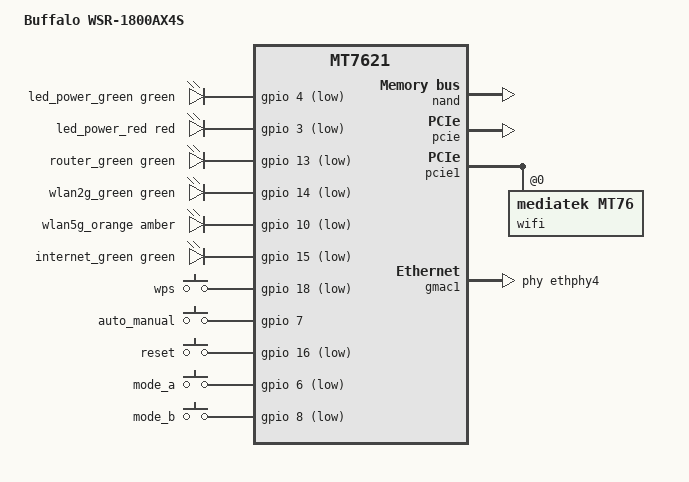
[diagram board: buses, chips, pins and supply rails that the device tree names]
// SPDX-License-Identifier: GPL-2.0-or-later OR MIT
//
// Buffalo WSR-1800AX4S (Gemtek WRTM-353AX)
// SoC: MT7621AT, RAM 256MB, NAND 128MB (Winbond W29N01HV, nmbm),
// WiFi: MT7915DAN + MT7975DN (PCIe, dual-band concurrent, single chip)
//
// Flash layout mirrors the stock nmbm partition table. The stock
// bootcode (Buffalo Bootcode 1.04) requires both flash banks to
// hold identical kernel/rootfs images, a FIT with legacy "@" node
// names, and a "gtkc:" CRC trailer at offset 0x99adc6 of each
// rootfs partition; see the partition comment below.

#include "mt7621.dtsi"

#include <dt-bindings/gpio/gpio.h>
#include <dt-bindings/input/input.h>
#include <dt-bindings/leds/common.h>

/ {
	compatible = "buffalo,wsr-1800ax4s", "mediatek,mt7621-soc";
	model = "Buffalo WSR-1800AX4S";

	aliases {
		led-boot = &led_power_green;
		led-failsafe = &led_power_red;
		led-running = &led_power_green;
		led-upgrade = &led_power_red;
		label-mac-device = &ethernet;
	};

	chosen {
		bootargs = "console=ttyS0,115200";
	};

	leds {
		compatible = "gpio-leds";

		// All LEDs are active-low (stock DTB) and were lit one at a
		// time on the live unit, 2026-11-04/05, colours confirmed
		// by eye: POWER green/red, WIRELESS green/orange,
		// INTERNET green, ROUTER green.

		led_power_green: power_green {
			function = LED_FUNCTION_STATUS;
			color = <LED_COLOR_ID_GREEN>;
			gpios = <&gpio 4 GPIO_ACTIVE_LOW>;
			default-state = "on";
		};

		led_power_red: power_red {
			function = LED_FUNCTION_STATUS;
			color = <LED_COLOR_ID_RED>;
			gpios = <&gpio 3 GPIO_ACTIVE_LOW>;
		};

		router_green {
			function = "router";
			color = <LED_COLOR_ID_GREEN>;
			gpios = <&gpio 13 GPIO_ACTIVE_LOW>;
		};

		wlan2g_green {
			function = LED_FUNCTION_WLAN_2GHZ;
			color = <LED_COLOR_ID_GREEN>;
			gpios = <&gpio 14 GPIO_ACTIVE_LOW>;
		};

		wlan5g_orange {
			function = LED_FUNCTION_WLAN_5GHZ;
			color = <LED_COLOR_ID_AMBER>;
			gpios = <&gpio 10 GPIO_ACTIVE_LOW>;
		};

		internet_green {
			function = LED_FUNCTION_WAN;
			color = <LED_COLOR_ID_GREEN>;
			gpios = <&gpio 15 GPIO_ACTIVE_LOW>;
		};
	};

	keys {
		compatible = "gpio-keys";

		// Front-top AOSS button, confirmed by fast GPIO polling
		// (clean 1 -> 0 -> 1 press signature, exclusive responder).
		wps {
			label = "wps";
			gpios = <&gpio 18 GPIO_ACTIVE_LOW>;
			linux,code = <KEY_WPS_BUTTON>;
		};

		// AUTO/MANUAL slide switch, single pin, confirmed live:
		// MANUAL position = 1, AUTO position = 0.
		auto_manual {
			label = "auto_manual";
			gpios = <&gpio 7 GPIO_ACTIVE_HIGH>;
			linux,code = <BTN_0>;
			linux,input-type = <EV_SW>;
		};

		// Bottom RESET button, identified under the stock OS
		// (2026-11-05): the stock firmware exports GPIO 6, 7, 8,
		// 12, 16, 18 as sysfs inputs; fast sampling of those
		// values during a short press showed GPIO 16 alone going
		// hi -> lo. Active low.
		reset {
			label = "reset";
			gpios = <&gpio 16 GPIO_ACTIVE_LOW>;
			linux,code = <KEY_RESTART>;
		};

		// ROUTER/AP/WB slide switch, identified the same day:
		// a two-pin code on GPIO 6 and GPIO 8. Physical levels:
		//   ROUTER: 6=hi, 8=lo
		//   AP:     6=lo, 8=hi
		//   WB:     6=hi, 8=hi
		// Modelled as two EV_SW inputs; userspace can decode the
		// three positions from the pair. Each pin is "engaged"
		// (reads lo) in exactly one end position.
		mode_a {
			label = "mode_a";
			gpios = <&gpio 6 GPIO_ACTIVE_LOW>;
			linux,code = <BTN_1>;
			linux,input-type = <EV_SW>;
		};

		mode_b {
			label = "mode_b";
			gpios = <&gpio 8 GPIO_ACTIVE_LOW>;
			linux,code = <BTN_2>;
			linux,input-type = <EV_SW>;
		};
	};
};

&state_default {
	gpio {
		groups = "i2c", "uart3", "uart2";
		function = "gpio";
	};
};

&nand {
	status = "okay";

	// Stock firmware manages this NAND through nmbm; the stock
	// kernel's MTD list is the nmbm logical view reproduced below.
	// mediatek,bmt-remap-range is not needed: without it the MTD
	// list matches the stock logical table and nmbm attaches its
	// management area at block 960 (0x7800000), as on stock.
	mediatek,nmbm;

	partitions {
		compatible = "fixed-partitions";
		#address-cells = <1>;
		#size-cells = <1>;

		partition@0 {
			label = "Bootloader";
			reg = <0x0 0x80000>;
			read-only;
		};

		partition@80000 {
			label = "Config";
			reg = <0x80000 0x80000>;
			read-only;
		};

		partition@100000 {
			label = "Factory";
			reg = <0x100000 0x80000>;
			read-only;

			nvmem-layout {
				compatible = "fixed-layout";
				#address-cells = <1>;
				#size-cells = <1>;

				// MT7915 EEPROM + pre-calibration, same
				// offsets as the donor board (calibration
				// data verified present on this unit).
				eeprom_factory_0: eeprom@0 {
					reg = <0x0 0xe00>;
				};

				precal_factory_e10: precal@e10 {
					reg = <0xe10 0x19c10>;
				};

				// Two binary MACs stored back to back:
				// +0x4 = 90:96:f3:db:d3:31, +0xa = ...:38
				macaddr_factory_4: macaddr@4 {
					compatible = "mac-base";
					reg = <0x4 0x6>;
					#nvmem-cell-cells = <1>;
				};

				macaddr2_factory_a: macaddr2@a {
					reg = <0xa 0x6>;
				};
			};
		};

		// Dual-bank layout. The bootcode reads kernel/rootfs from
		// raw offsets inside each bank and CRC-checks only the
		// squashfs span (its trailer sits at stock offset
		// 0x99adc6 within rootfs), so the Linux-side map may cut
		// each bank at the stock split point: rootfs ends at
		// +0x9a0000 and the remaining space is a UBI partition
		// holding the overlay (UBIFS volume "rootfs_data").
		// JFFS2 on the raw tail proved unreliable on this NAND
		// (intermittent EBADMSG during boot-time scans), hence UBI.
		partition@180000 {
			label = "kernel";
			reg = <0x180000 0x400000>;
		};

		partition@580000 {
			label = "rootfs";
			reg = <0x580000 0x9a0000>;
		};

		partition@f20000 {
			label = "ubi";
			reg = <0xf20000 0x2360000>;
		};

		partition@3280000 {
			label = "kernel1";
			reg = <0x3280000 0x400000>;
		};

		partition@3680000 {
			label = "rootfs1";
			reg = <0x3680000 0x9a0000>;
		};

		partition@4020000 {
			label = "rootfs_data1";
			reg = <0x4020000 0x2760000>;
		};

		partition@6780000 {
			label = "user_config";
			reg = <0x6780000 0x100000>;
			read-only;
		};
	};
};

&pcie {
	status = "okay";
};

// MT7915 sits on PCIe port 1 (both radios in one chip), as on the
// donor board; it came up with phy0/phy1 under the donor image.
&pcie1 {
	wifi@0,0 {
		compatible = "mediatek,mt76";
		reg = <0x0000 0 0 0 0>;
		nvmem-cells = <&eeprom_factory_0>, <&precal_factory_e10>;
		nvmem-cell-names = "eeprom", "precal";
		mediatek,disable-radar-background;

		#address-cells = <1>;
		#size-cells = <0>;

		band@0 {
			reg = <0>;
			nvmem-cells = <&macaddr_factory_4 0>;
			nvmem-cell-names = "mac-address";
		};

		band@1 {
			reg = <1>;
			nvmem-cells = <&macaddr2_factory_a 0>;
			nvmem-cell-names = "mac-address";
		};
	};
};

&gmac0 {
	// Stock boot log: LAN MAC = 90:96:f3:db:d3:30, i.e. the
	// stored +0x4 MAC minus one.
	nvmem-cells = <&macaddr_factory_4 0xffffffff>;
	nvmem-cell-names = "mac-address";
};

&gmac1 {
	status = "okay";
	label = "wan";
	phy-handle = <&ethphy4>;
	// The stored MAC itself (verified on the live unit:
	// WAN = 90:96:f3:db:d3:31, the +0x4 factory MAC as-is).
	nvmem-cells = <&macaddr_factory_4 0>;
	nvmem-cell-names = "mac-address";
};

&ethphy4 {
	/delete-property/ interrupts;
};

&switch0 {
	ports {
		// Physical jack order is REVERSED vs. switch port
		// numbers (cable-tested 2026-11-05): case LAN1 is
		// port 3, LAN2 is port 2, LAN3 is port 1, LAN4 is port 0.
		port@0 {
			status = "okay";
			label = "lan4";
		};

		port@1 {
			status = "okay";
			label = "lan3";
		};

		port@2 {
			status = "okay";
			label = "lan2";
		};

		port@3 {
			status = "okay";
			label = "lan1";
		};
	};
};
